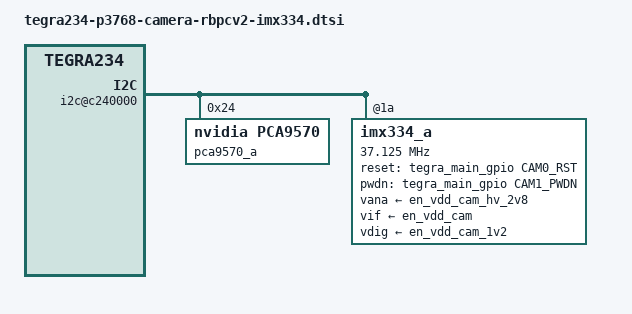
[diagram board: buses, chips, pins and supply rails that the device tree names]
/*
 * Copyright (c) 2022, NVIDIA CORPORATION.  All rights reserved.
 *
 * This program is free software; you can redistribute it and/or modify
 * it under the terms of the GNU General Public License as published by
 * the Free Software Foundation; either version 2 of the License, or
 * (at your option) any later version.
 *
 * This program is distributed in the hope that it will be useful, but WITHOUT
 * ANY WARRANTY; without even the implied warranty of MERCHANTABILITY or
 * FITNESS FOR A PARTICULAR PURPOSE.  See the GNU General Public License for
 * more details.
 *
 * You should have received a copy of the GNU General Public License
 * along with this program.  If not, see <http://www.gnu.org/licenses/>.
 */

#include "tegra234-camera-rbpcv2-imx334.dtsi"
#include "dt-bindings/clock/tegra234-clock.h"

// GPIO01
#define CAM0_RST	TEGRA234_MAIN_GPIO(Q, 5)
// CAM1_PWDN 
#define CAM1_PWDN	TEGRA234_MAIN_GPIO(AC, 0)

/* camera control gpio definitions */

/ {
	i2c@c240000 {
		#address-cells = <1>;
		#size-cells = <0>;
		pca9570_a@24 {
			compatible = "nvidia,pca9570";
			reg = <0x24>;
			channel = "a";
			drive_ic = "DRV8838";
		};

		imx334_a@1a {
			/* Define any required hw resources needed by driver */
			/* ie. clocks, io pins, power sources */
			clocks = <&bpmp_clks TEGRA234_CLK_EXTPERIPH1>,
						<&bpmp_clks TEGRA234_CLK_PLLP_OUT0>;
			clock-names = "extperiph1", "pllp_grtba";
			mclk = "extperiph1";
			clock-frequency = <37125000>;
			reset-gpios = <&tegra_main_gpio CAM0_RST GPIO_ACTIVE_HIGH>;
			pwdn-gpios = <&tegra_main_gpio CAM1_PWDN GPIO_ACTIVE_HIGH>;
			vana-supply = <&en_vdd_cam_hv_2v8>;
			vif-supply = <&en_vdd_cam>;
			vdig-supply = <&en_vdd_cam_1v2>;
		};
	};
};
